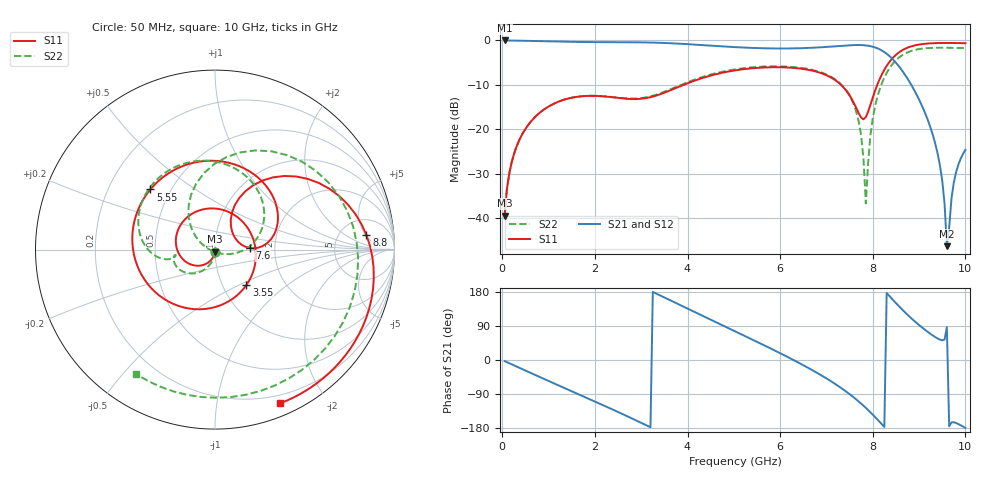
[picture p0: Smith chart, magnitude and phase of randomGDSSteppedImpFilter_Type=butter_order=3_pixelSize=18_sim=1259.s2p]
! freq	dB(S11)	phase(S11)	dB(S12)	phase(S12)
!  dB(S21)	phase(S21)	dB(S22)	phase(S22)
!S-par simulation data
#  GHz  S  DB  R 50
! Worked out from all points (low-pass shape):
!   200 points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, 50 MHz to 10 GHz, reference 50 ohm
!   highest |S21| = 0.00 dB at 50 MHz (marker M1); lowest = -46.4 dB at 9.6 GHz (marker M2)
!   |S21| within 3 dB of the highest: start of sweep to 8.3 GHz
!   lowest |S11| = -39.5 dB at 50 MHz (marker M3), VSWR 1.02, Z = 49.9 - j1.06 ohm
!   |S11| at or under -10 dB: start of sweep to 3.918 GHz; 7.312 GHz to 8.098 GHz (785.3 MHz wide, 10.2 % of centre)
!   |S22| runs from -39.5 to -1.6 dB; largest |S21 - S12| = 0
!   S11 on the Smith chart (normalised r, x): 50 MHz: 1.00, -0.02; 3.55 GHz: 1.29, -0.55; 5.55 GHz: 0.39, +0.34; 7.6 GHz: 1.48, +0.03; 8.8 GHz: 9, +5; 10 GHz: 0.12, -1.51
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0.05  -39.47 -92.9  -0.00 -2.8  -0.00 -2.8  -39.47 -91.7
0.2  -27.57 -103.8  -0.03 -11.2  -0.03 -11.2  -27.55 -98.7
0.5  -19.95 -124.8  -0.08 -27.9  -0.08 -27.9  -19.93 -112.1
1.75  -12.55 145.1  -0.36 -95.9  -0.36 -95.9  -12.54 -158.3
2.7  -13.16 54.6  -0.40 -148.5  -0.40 -148.5  -13.07 -172.4
3.4  -12.17 -30.9  -0.53 170.8  -0.53 170.8  -11.96 -168.2
3.55  -11.58 -48.3  -0.59 162.0  -0.59 162.0  -11.35 -168.5
4.3  -8.54 -123.0  -1.04 117.8  -1.04 117.8  -8.31 177.9
5.05  -6.71 175.4  -1.52 74.2  -1.52 74.2  -6.48 152.6
5.55  -6.16 137.0  -1.74 45.0  -1.74 45.0  -5.94 132.8
6.7  -6.82 51.7  -1.65 -27.2  -1.65 -27.2  -6.65 75.8
7.6  -14.27 2.6  -1.04 -99.7  -1.04 -99.7  -14.72 3.4
7.75  -17.41 19.7  -1.04 -115.2  -1.04 -115.2  -21.55 -17.7
7.85  -17.28 45.2  -1.12 -126.3  -1.12 -126.3  -36.74 -97.7
8  -12.85 65.4  -1.42 -144.2  -1.42 -144.2  -17.52 145.5
8.35  -4.99 46.8  -3.43 170.0  -3.43 170.0  -6.44 90.6
8.8  -1.44 5.5  -9.45 113.7  -9.45 113.7  -2.48 23.6
9.4  -0.59 -36.3  -25.48 56.8  -25.48 56.8  -1.65 -54.3
9.55  -0.57 -44.7  -36.76 53.9  -36.76 53.9  -1.65 -72.1
9.6  -0.57 -47.4  -46.38 86.7  -46.38 86.7  -1.65 -77.9
9.75  -0.58 -55.1  -32.03 -164.3  -32.03 -164.3  -1.67 -95.1
10  -0.63 -67.0  -24.65 -179.2  -24.65 -179.2  -1.72 -122.5
